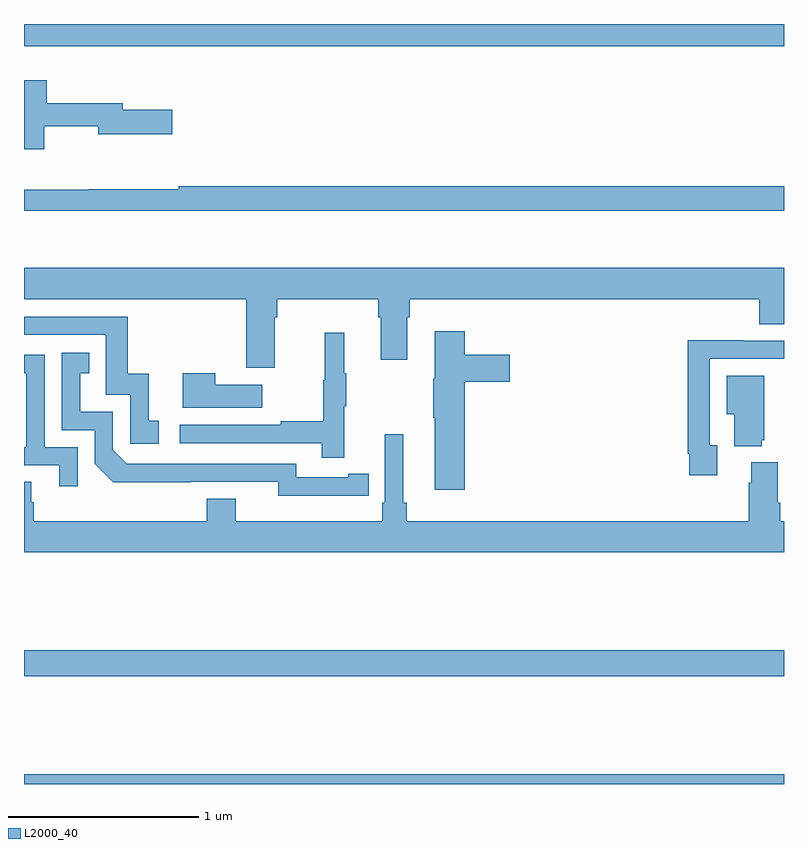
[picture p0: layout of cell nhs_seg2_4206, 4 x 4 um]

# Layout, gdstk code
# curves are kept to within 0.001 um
import gdstk
lib = gdstk.Library(unit=1e-6, precision=1e-09)
def R(c, l, rs):  # rectangles x0, y0, x1, y1
    for r in rs: c.add(gdstk.rectangle(r[:2], r[2:], *l))
def P(c, l, *ps):  # polygons
    for p in ps: c.add(gdstk.Polygon(p, *l))
L2000_40 = (2000, 40)

nhs_seg2_4206 = lib.new_cell('nhs_seg2_4206')
R(nhs_seg2_4206, L2000_40, [(339,595.8,343,595.852), (339,596.368,343,596.504), (339,599.684,343,599.8)])
P(nhs_seg2_4206, L2000_40, [(339.106,599.262),(339.392,599.262),(339.392,599.219),(339.781,599.219),(339.781,599.349),(339.52,599.349),(339.52,599.383),(339.119,599.383),(339.119,599.503),(339,599.503),(339,599.142),(339.106,599.142)],
  [(343,598.946),(339.814,598.946),(339.814,598.931),(339.341,598.931),(339.341,598.928),(339,598.928),(339,598.818),(343,598.818)],
  [(340.321,598.256),(340.334,598.256),(340.334,598.352),(340.865,598.352),(340.865,598.256),(340.877,598.256),(340.877,598.032),(341.017,598.032),(341.017,598.256),(341.03,598.256),(341.03,598.352),(342.869,598.352),(342.869,598.219),(343,598.219),(343,598.516),(339,598.516),(339,598.352),(340.169,598.352),(340.169,597.99),(340.321,597.99)],
  [(339.709,597.711),(339.656,597.711),(339.656,597.958),(339.545,597.958),(339.545,598.26),(339,598.26),(339,598.164),(339.429,598.164),(339.429,597.849),(339.558,597.849),(339.558,597.591),(339.709,597.591)],
  [(341.321,597.917),(341.557,597.917),(341.557,598.059),(341.321,598.059),(341.321,598.183),(341.162,598.183),(341.162,597.933),(341.155,597.933),(341.155,597.727),(341.162,597.727),(341.162,597.348),(341.321,597.348)],
  [(340.685,597.787),(340.696,597.787),(340.696,597.961),(340.685,597.961),(340.685,598.174),(340.582,598.174),(340.582,597.924),(340.575,597.924),(340.575,597.71),(340.351,597.71),(340.351,597.69),(339.819,597.69),(339.819,597.594),(340.567,597.594),(340.567,597.516),(340.685,597.516)],
  [(342.649,597.582),(342.609,597.582),(342.609,598.038),(343,598.038),(343,598.134),(342.785,598.134),(342.785,598.136),(342.493,598.136),(342.493,597.538),(342.501,597.538),(342.501,597.426),(342.649,597.426)],
  [(340.706,597.318),(340.814,597.318),(340.814,597.434),(340.706,597.434),(340.706,597.414),(340.434,597.414),(340.434,597.486),(339.54,597.486),(339.468,597.558),(339.468,597.759),(339.295,597.759),(339.295,597.963),(339.344,597.963),(339.344,598.069),(339.198,598.069),(339.198,597.663),(339.372,597.663),(339.372,597.486),(339.47,597.389),(340.338,597.39),(340.338,597.317)],
  [(339.282,597.573),(339.108,597.573),(339.108,598.059),(339,598.059),(339,597.962),(339.012,597.962),(339.012,597.573),(339,597.573),(339,597.477),(339.185,597.477),(339.185,597.366),(339.282,597.366)],
  [(340.255,597.901),(340.007,597.901),(340.007,597.961),(339.836,597.961),(339.836,597.779),(340.255,597.779)],
  [(342.884,597.609),(342.895,597.609),(342.895,597.949),(342.698,597.949),(342.698,597.746),(342.737,597.746),(342.737,597.578),(342.884,597.578)],
  [(343,597.184),(342.98,597.184),(342.98,597.28),(342.967,597.28),(342.967,597.493),(342.827,597.493),(342.827,597.386),(342.815,597.386),(342.815,597.184),(341.015,597.184),(341.015,597.28),(340.996,597.28),(340.996,597.64),(340.899,597.64),(340.899,597.28),(340.886,597.28),(340.886,597.184),(340.114,597.184),(340.114,597.301),(339.962,597.301),(339.962,597.184),(339.05,597.184),(339.05,597.282),(339.037,597.282),(339.037,597.392),(339,597.392),(339,597.02),(343,597.02)])

lib.write_gds('nhs_seg2_4206.gds')
